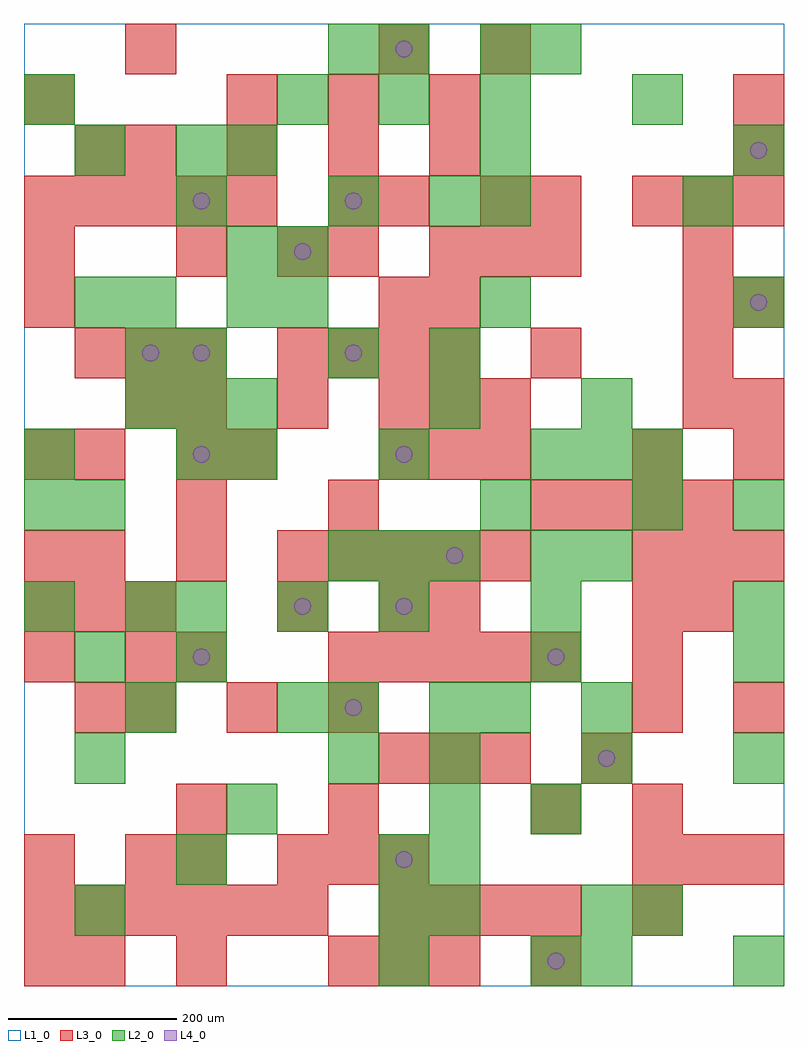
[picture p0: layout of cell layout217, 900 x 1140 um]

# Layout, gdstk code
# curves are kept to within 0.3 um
import gdstk
lib = gdstk.Library(unit=1e-6, precision=1e-09)
def R(c, l, rs):  # rectangles x0, y0, x1, y1
    for r in rs: c.add(gdstk.rectangle(r[:2], r[2:], *l))
def A(c, l, x, y, w, h, nx, ny, dx, dy):  # array of equal rectangles
    R(c, l, [(x+i*dx, y+j*dy, x+i*dx+w, y+j*dy+h) for i in range(nx) for j in range(ny)])
def P(c, l, *ps):  # polygons
    for p in ps: c.add(gdstk.Polygon(p, *l))
L1_0 = (1, 0)
L2_0 = (2, 0)
L3_0 = (3, 0)
L4_0 = (4, 0)

layout217 = lib.new_cell('layout217')
R(layout217, L1_0, [(0,0,900,1140)])
A(layout217, L2_0, 420, 0, 60, 60, 1, 3, 0, 60)
A(layout217, L2_0, 600, 0, 60, 60, 1, 3, 0, 180)
A(layout217, L2_0, 480, 60, 60, 60, 1, 3, 0, 60)
A(layout217, L2_0, 180, 120, 60, 60, 1, 3, 0, 240)
A(layout217, L2_0, 480, 240, 60, 60, 3, 1, 180, 0)
A(layout217, L2_0, 540, 300, 60, 60, 1, 3, 0, 240)
A(layout217, L2_0, 180, 420, 60, 60, 3, 1, 120, 0)
A(layout217, L2_0, 360, 480, 60, 60, 3, 1, 60, 0)
A(layout217, L2_0, 240, 600, 60, 60, 3, 1, 180, 0)
A(layout217, L2_0, 120, 660, 60, 60, 3, 1, 60, 0)
A(layout217, L2_0, 360, 720, 60, 60, 1, 3, 0, 180)
A(layout217, L2_0, 240, 960, 60, 60, 3, 1, 300, 0)
A(layout217, L2_0, 300, 1020, 60, 60, 3, 1, 120, 0)
R(layout217, L2_0, [(660,0,720,60), (840,0,900,60), (60,60,120,120), (660,60,720,120), (720,60,780,120), (240,180,300,240), (60,240,120,300), (360,240,420,300), (120,300,180,360), (300,300,360,360), (360,300,420,360), (480,300,540,360), (660,300,720,360), (60,360,120,420), (840,360,900,420), (0,420,60,480), (120,420,180,480), (600,420,660,480), (840,420,900,480), (600,480,660,540), (660,480,720,540), (0,540,60,600), (60,540,120,600), (720,540,780,600), (840,540,900,600), (0,600,60,660), (660,600,720,660), (720,600,780,660), (480,660,540,720), (660,660,720,720), (120,720,180,780), (180,720,240,780), (480,720,540,780), (60,780,120,840), (120,780,180,840), (240,780,300,840), (300,780,360,840), (840,780,900,840), (240,840,300,900), (300,840,360,900), (180,900,240,960), (480,900,540,960), (540,900,600,960), (780,900,840,960), (60,960,120,1020), (180,960,240,1020), (0,1020,60,1080), (720,1020,780,1080), (420,1080,480,1140), (540,1080,600,1140), (600,1080,660,1140)])
A(layout217, L3_0, 60, 0, 60, 60, 1, 3, 0, 300)
A(layout217, L3_0, 360, 0, 60, 60, 3, 1, 60, 0)
A(layout217, L3_0, 0, 60, 60, 60, 6, 1, 60, 0)
A(layout217, L3_0, 420, 60, 60, 60, 4, 1, 60, 0)
A(layout217, L3_0, 720, 60, 60, 60, 1, 3, 0, 120)
A(layout217, L3_0, 300, 120, 60, 60, 3, 1, 60, 0)
A(layout217, L3_0, 720, 120, 60, 60, 3, 2, 60, 360)
A(layout217, L3_0, 180, 180, 60, 60, 1, 3, 0, 180)
A(layout217, L3_0, 420, 240, 60, 60, 3, 2, 60, 360)
A(layout217, L3_0, 120, 300, 60, 60, 3, 1, 120, 0)
A(layout217, L3_0, 0, 360, 60, 60, 1, 3, 0, 120)
A(layout217, L3_0, 360, 360, 60, 60, 5, 1, 60, 0)
A(layout217, L3_0, 0, 420, 60, 60, 3, 1, 60, 0)
A(layout217, L3_0, 60, 480, 60, 60, 3, 1, 120, 0)
A(layout217, L3_0, 360, 480, 60, 60, 4, 1, 60, 0)
A(layout217, L3_0, 600, 540, 60, 60, 4, 1, 60, 0)
A(layout217, L3_0, 180, 660, 60, 60, 3, 1, 120, 0)
A(layout217, L3_0, 780, 660, 60, 60, 1, 4, 0, 60)
A(layout217, L3_0, 60, 720, 60, 60, 3, 1, 60, 0)
A(layout217, L3_0, 300, 720, 60, 60, 4, 1, 60, 0)
A(layout217, L3_0, 480, 840, 60, 60, 3, 1, 60, 0)
A(layout217, L3_0, 0, 900, 60, 60, 5, 1, 60, 0)
A(layout217, L3_0, 720, 900, 60, 60, 3, 1, 60, 0)
A(layout217, L3_0, 120, 960, 60, 60, 4, 1, 120, 0)
A(layout217, L3_0, 240, 1020, 60, 60, 3, 1, 120, 0)
R(layout217, L3_0, [(0,0,60,60), (180,0,240,60), (600,0,660,60), (0,120,60,180), (120,120,180,180), (180,120,240,180), (360,180,420,240), (600,180,660,240), (660,240,720,300), (840,300,900,360), (120,360,180,420), (720,360,780,420), (300,420,360,480), (420,420,480,480), (480,420,540,480), (720,420,780,480), (780,420,840,480), (360,540,420,600), (180,600,240,660), (240,600,300,660), (720,600,780,660), (840,600,900,660), (120,660,180,720), (480,660,540,720), (540,660,600,720), (840,660,900,720), (600,720,660,780), (0,780,60,840), (420,780,480,840), (480,780,540,840), (840,780,900,840), (0,840,60,900), (180,840,240,900), (300,840,360,900), (360,840,420,900), (360,900,420,960), (420,900,480,960), (540,900,600,960), (600,900,660,960), (60,960,120,1020), (840,960,900,1020), (0,1020,60,1080), (840,1020,900,1080), (120,1080,180,1140), (420,1080,480,1140), (540,1080,600,1140)])
P(layout217, L4_0, [(160,750),(159.239,753.827),(157.071,757.071),(153.827,759.239),(150,760),(146.173,759.239),(142.929,757.071),(140.761,753.827),(140,750),(140.761,746.173),(142.929,742.929),(146.173,740.761),(150,740),(153.827,740.761),(157.071,742.929),(159.239,746.173)],
  [(220,390),(219.239,393.827),(217.071,397.071),(213.827,399.239),(210,400),(206.173,399.239),(202.929,397.071),(200.761,393.827),(200,390),(200.761,386.173),(202.929,382.929),(206.173,380.761),(210,380),(213.827,380.761),(217.071,382.929),(219.239,386.173)],
  [(220,630),(219.239,633.827),(217.071,637.071),(213.827,639.239),(210,640),(206.173,639.239),(202.929,637.071),(200.761,633.827),(200,630),(200.761,626.173),(202.929,622.929),(206.173,620.761),(210,620),(213.827,620.761),(217.071,622.929),(219.239,626.173)],
  [(220,750),(219.239,753.827),(217.071,757.071),(213.827,759.239),(210,760),(206.173,759.239),(202.929,757.071),(200.761,753.827),(200,750),(200.761,746.173),(202.929,742.929),(206.173,740.761),(210,740),(213.827,740.761),(217.071,742.929),(219.239,746.173)],
  [(220,930),(219.239,933.827),(217.071,937.071),(213.827,939.239),(210,940),(206.173,939.239),(202.929,937.071),(200.761,933.827),(200,930),(200.761,926.173),(202.929,922.929),(206.173,920.761),(210,920),(213.827,920.761),(217.071,922.929),(219.239,926.173)],
  [(340,450),(339.239,453.827),(337.071,457.071),(333.827,459.239),(330,460),(326.173,459.239),(322.929,457.071),(320.761,453.827),(320,450),(320.761,446.173),(322.929,442.929),(326.173,440.761),(330,440),(333.827,440.761),(337.071,442.929),(339.239,446.173)],
  [(340,870),(339.239,873.827),(337.071,877.071),(333.827,879.239),(330,880),(326.173,879.239),(322.929,877.071),(320.761,873.827),(320,870),(320.761,866.173),(322.929,862.929),(326.173,860.761),(330,860),(333.827,860.761),(337.071,862.929),(339.239,866.173)],
  [(400,330),(399.239,333.827),(397.071,337.071),(393.827,339.239),(390,340),(386.173,339.239),(382.929,337.071),(380.761,333.827),(380,330),(380.761,326.173),(382.929,322.929),(386.173,320.761),(390,320),(393.827,320.761),(397.071,322.929),(399.239,326.173)],
  [(400,750),(399.239,753.827),(397.071,757.071),(393.827,759.239),(390,760),(386.173,759.239),(382.929,757.071),(380.761,753.827),(380,750),(380.761,746.173),(382.929,742.929),(386.173,740.761),(390,740),(393.827,740.761),(397.071,742.929),(399.239,746.173)],
  [(400,930),(399.239,933.827),(397.071,937.071),(393.827,939.239),(390,940),(386.173,939.239),(382.929,937.071),(380.761,933.827),(380,930),(380.761,926.173),(382.929,922.929),(386.173,920.761),(390,920),(393.827,920.761),(397.071,922.929),(399.239,926.173)],
  [(460,150),(459.239,153.827),(457.071,157.071),(453.827,159.239),(450,160),(446.173,159.239),(442.929,157.071),(440.761,153.827),(440,150),(440.761,146.173),(442.929,142.929),(446.173,140.761),(450,140),(453.827,140.761),(457.071,142.929),(459.239,146.173)],
  [(460,450),(459.239,453.827),(457.071,457.071),(453.827,459.239),(450,460),(446.173,459.239),(442.929,457.071),(440.761,453.827),(440,450),(440.761,446.173),(442.929,442.929),(446.173,440.761),(450,440),(453.827,440.761),(457.071,442.929),(459.239,446.173)],
  [(460,630),(459.239,633.827),(457.071,637.071),(453.827,639.239),(450,640),(446.173,639.239),(442.929,637.071),(440.761,633.827),(440,630),(440.761,626.173),(442.929,622.929),(446.173,620.761),(450,620),(453.827,620.761),(457.071,622.929),(459.239,626.173)],
  [(460,1110),(459.239,1113.827),(457.071,1117.071),(453.827,1119.239),(450,1120),(446.173,1119.239),(442.929,1117.071),(440.761,1113.827),(440,1110),(440.761,1106.173),(442.929,1102.929),(446.173,1100.761),(450,1100),(453.827,1100.761),(457.071,1102.929),(459.239,1106.173)],
  [(520,510),(519.239,513.827),(517.071,517.071),(513.827,519.239),(510,520),(506.173,519.239),(502.929,517.071),(500.761,513.827),(500,510),(500.761,506.173),(502.929,502.929),(506.173,500.761),(510,500),(513.827,500.761),(517.071,502.929),(519.239,506.173)],
  [(640,30),(639.239,33.827),(637.071,37.071),(633.827,39.239),(630,40),(626.173,39.239),(622.929,37.071),(620.761,33.827),(620,30),(620.761,26.173),(622.929,22.929),(626.173,20.761),(630,20),(633.827,20.761),(637.071,22.929),(639.239,26.173)],
  [(640,390),(639.239,393.827),(637.071,397.071),(633.827,399.239),(630,400),(626.173,399.239),(622.929,397.071),(620.761,393.827),(620,390),(620.761,386.173),(622.929,382.929),(626.173,380.761),(630,380),(633.827,380.761),(637.071,382.929),(639.239,386.173)],
  [(700,270),(699.239,273.827),(697.071,277.071),(693.827,279.239),(690,280),(686.173,279.239),(682.929,277.071),(680.761,273.827),(680,270),(680.761,266.173),(682.929,262.929),(686.173,260.761),(690,260),(693.827,260.761),(697.071,262.929),(699.239,266.173)],
  [(880,810),(879.239,813.827),(877.071,817.071),(873.827,819.239),(870,820),(866.173,819.239),(862.929,817.071),(860.761,813.827),(860,810),(860.761,806.173),(862.929,802.929),(866.173,800.761),(870,800),(873.827,800.761),(877.071,802.929),(879.239,806.173)],
  [(880,990),(879.239,993.827),(877.071,997.071),(873.827,999.239),(870,1000),(866.173,999.239),(862.929,997.071),(860.761,993.827),(860,990),(860.761,986.173),(862.929,982.929),(866.173,980.761),(870,980),(873.827,980.761),(877.071,982.929),(879.239,986.173)])

lib.write_gds('layout217.gds')
